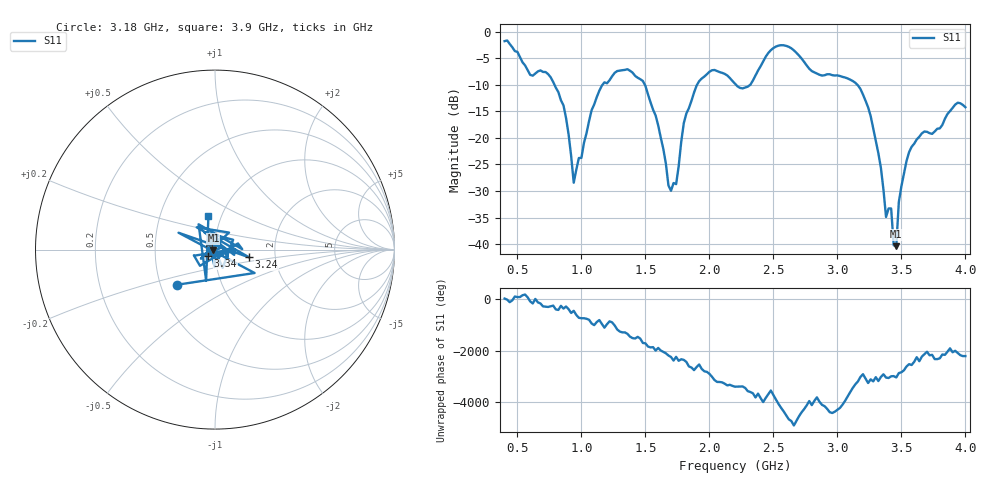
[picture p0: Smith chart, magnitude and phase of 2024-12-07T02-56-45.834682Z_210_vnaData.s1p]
!Created with skrf (http://scikit-rf.org).
# Hz S RI R 50.0
!freq ReS11 ImS11
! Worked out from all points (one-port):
!   181 points, 400 MHz to 4 GHz, reference 50 ohm
!   lowest |S11| = -40.4 dB at 3.46 GHz (marker M1), VSWR 1.02, Z = 49.1 - j0.383 ohm
!   |S11| at or under -10 dB: 790 MHz to 1.164 GHz (374.4 MHz wide, 38.3 % of centre); 1.496 GHz to 1.903 GHz (407.1 MHz wide, 24 % of centre); 3.157 GHz to end of sweep (the widest 3 of 4)
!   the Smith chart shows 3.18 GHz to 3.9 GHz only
!   S11 on the Smith chart (normalised r, x): 3.18 GHz: 0.61, -0.26; 3.24 GHz: 1.46, -0.13; 3.34 GHz: 0.93, -0.07; 3.9 GHz: 0.87, +0.34
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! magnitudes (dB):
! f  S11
! 400 MHz  -1.8
! 600 MHz  -8.1
! 740 MHz  -8.0
! 860 MHz  -13.9
! 940 MHz  -28.4
! 1.14 GHz  -11.1
! 1.3 GHz  -7.3
! 1.5 GHz  -10.2
! 1.7 GHz  -30.0
! 1.76 GHz  -25.3
! 1.8 GHz  -17.2
! 1.92 GHz  -9.3
! 2.2 GHz  -9.8
! 2.32 GHz  -10.0
! 2.52 GHz  -2.8
! 2.66 GHz  -3.5
! 3.1 GHz  -9.0
! 3.18 GHz  -10.8
! 3.24 GHz  -14.2
! 3.34 GHz  -25.7
! 3.38 GHz  -34.9
! 3.42 GHz  -33.3
! 3.44 GHz  -40.2
! 3.46 GHz  -40.4
! 3.48 GHz  -32.0
! 3.56 GHz  -22.7
! 3.9 GHz  -14.3
! 4 GHz  -14.2
